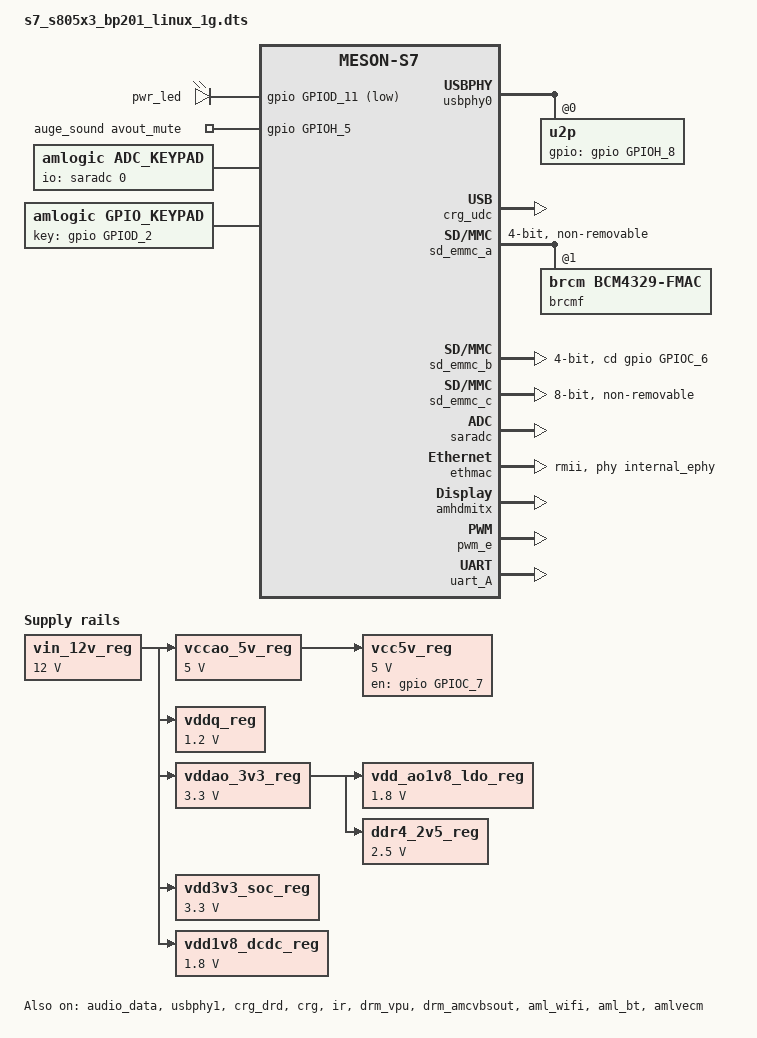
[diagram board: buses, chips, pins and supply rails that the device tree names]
// SPDX-License-Identifier: (GPL-2.0+ OR MIT)
/*
 * Copyright (c) 2019 Amlogic, Inc. All rights reserved.
 */

/dts-v1/;

#include "meson-s7.dtsi"
#include "hdr10plus.dtsi"
#include "mesons7_drm.dtsi"
#include "mesons7_audio.dtsi"
#include "partition_normal_linux.dtsi"
#include "meson-ir-map-linux.dtsi"
/ {
	amlogic-dt-id = "s7_s805x3_bp201-1g";
	compatible = "s7_s805x3_bp201-1g";
	interrupt-parent = <&gic>;
	#address-cells = <1>;
	#size-cells = <1>;

	aliases {
		serial0 = &uart_B;
		serial1 = &uart_A;
		serial2 = &uart_C;
		serial3 = &uart_D;
		serial4 = &uart_E;
		i2c0 = &i2c0;
		i2c1 = &i2c1;
		i2c2 = &i2c2;
		i2c3 = &i2c3;
		i2c4 = &i2c4;
		spi0 = &spifc;
		spi1 = &spicc0;
		tsensor0 = &p_tsensor;
	};

	memory@0 {
		device_type = "memory";
		linux,usable-memory = <0x0 0x40000000>;
	};

	reserved-memory {
		#address-cells = <1>;
		#size-cells = <1>;
		ranges;

		ramdump_bl33z {
			compatible = "shared-dma-pool";
			size = <0x01800000>;
			alignment = <0x00400000>;
			alloc-ranges = <0x05000000 0x07000000>;
			linux,contiguous-region;
			no-map;
			status = "disabled";
		};

		ramdump_data@0 {
			reg = <0x0 0x0>;
			status = "disabled"; /* disabled as default */
		};

		/* global autoconfigured region for contiguous allocations */

		ramoops@6700000 {
			compatible = "ramoops";
			reg = <0x06700000 0x00080000>;/* addr set in uboot */
			record-size = <0x30000>;
			console-size = <0x40000>;
			ftrace-size = <0x0>;
			pmsg-size = <0x10000>;
		};

		dmc_reserved:linux,dmc_monitor {
			compatible = "amlogic,dmc_monitor-reserved";
			reg = <0x0 0x10000>;
		};

		debug_reserved:linux,iotrace {
			compatible = "amlogic, iotrace";
			reg = <0x04f00000 0x00100000>;
			io-size = <0x1b000>;
			sched-size = <0x2000>;
			irq-size = <0x1000>;
			smc-size = <0x1000>;
			misc-size = <0x1000>;
		};

		secmon_reserved:linux,secmon {
			compatible = "shared-dma-pool";
			/*reusable;*/
			no-map;
			alignment = <0x100000>;
			reg = <0x05000000 0x1700000>;
		};

		logo_reserved:linux,meson-fb {
			compatible = "amlogic, meson-fb";
			alignment = <0x400000>;
			reg = <0x3f800000 0x800000>;
		};

		ion_cma_reserved:linux,ion-dev {
			compatible = "shared-dma-pool";
			reusable;
			size = <0x0>;
			alignment = <0x400000>;
		};
		ion_fb_reserved:linux,ion-fb {
			compatible = "shared-dma-pool";
			reusable;
			size = <0x0>;
			alignment = <0x400000>;
		};
		dmaheap_cma_reserved:heap-gfx {
			compatible = "shared-dma-pool";
			reusable;
			/* maximum size of fbdev and wayland-drm backend
			 * fbdev: 2 * (number of /dev/fbx device) buffers
			 * wayland-drm: 4 buffers for westeros or 2 buffers for weston,
			 *   3 buffers for direct display(enabled on weston)
			 */
			size = <0x2400000>;
			alignment = <0x400000>;
			alloc-ranges = <0x00000000 0x30000000>;
		};
		dmaheap_fb_reserved:heap-fb {
			compatible = "shared-dma-pool";
			reusable;
			/* 720p STB androidU size 24M */
			size = <0x0>;
			alignment = <0x400000>;
			alloc-ranges = <0x30000000 0x10000000>;
		};
		/*di CMA pool */
		di_cma_reserved:linux,di_cma {
			compatible = "shared-dma-pool";
			reusable;
			/* buffer_size = 3621952(yuv422 8bit)
			 *  | 4736064(yuv422 10bit)
			 *  | 4074560(yuv422 10bit full pack mode)
			 * 10x3621952=34.6M(0x23) support 8bit
			 * 10x4736064=45.2M(0x2e) support 12bit
			 * 10x4074560=40M(0x28) support 10bit
			 */
			//size = <0x0 0x0B000000>;
			//size = <0x0 0x0>;
			alignment = <0x400000>;
		};

		/*  POST PROCESS MANAGER */
		ppmgr_reserved:linux,ppmgr {
			compatible = "shared-dma-pool";
			size = <0x0>;
		};

		codec_mm_cma:linux,codec_mm_cma {
			compatible = "shared-dma-pool";
			reusable;
			/* Two-channel 1080i HEVC secure playback requires at least 168MB */
			size = <0x9C00000>;
			alignment = <0x400000>;
			linux,contiguous-region;
			alloc-ranges = <0x30000000 0x10000000>;
		};

		/* codec shared reserved */
		codec_mm_reserved:linux,codec_mm_reserved {
			compatible = "amlogic, codec-mm-reserved";
			size = <0x0>;
			alignment = <0x100000>;
			//no-map;
		};

		secure_vdec_reserved:linux,secure_vdec_reserved {
			compatible = "amlogic, secure-vdec-reserved";
			no-map;
			size = <0x400000>;
			alignment = <0x100000>;
			alloc-ranges = <0x30000000 0x10000000>;
		};
		/*  vdin0 CMA pool */
		//vdin0_cma_reserved:linux,vdin0_cma {
		//	compatible = "shared-dma-pool";
		//	reusable;
			/* up to 1920x1080 yuv422 8bit and 5 buffers
			 * 1920x1080x2x5 = 20 M
			 */
		//	size = <0x01400000>;
		//	alignment = <0x400000>;
		//};
		/*  vdin1 CMA pool */
		vdin1_cma_reserved:linux,vdin1_cma {
			compatible = "shared-dma-pool";
			reusable;
			size = <0x00c00000>;
			alignment = <0x400000>;
			alloc-ranges = <0x30000000 0x10000000>;
		};
		/* global autoconfigured region for contiguous allocations */
		linux,cma {
			compatible = "shared-dma-pool";
			reusable;
			size = <0x400000>;
			alignment = <0x400000>;
			linux,cma-default;
			alloc-ranges = <0x30000000 0x10000000>;
		};
	};

	gpio_leds {
		compatible = "gpio-leds";
		status = "okay";
		pwr_led {
			label = "pwr_led";
			gpios = <&gpio GPIOD_11 GPIO_ACTIVE_LOW>;
			default-state = "on";
		};
	};

	dvb-extern {
		compatible = "amlogic, dvb-extern";
		dev_name = "dvb-extern";
		status = "disabled";

		/* dvb hardware main power. */
		dvb_power_gpio = <&gpio GPIOZ_5 GPIO_ACTIVE_HIGH>;
		dvb_power_value = <1>;
		dvb_power_dir = <0>; /* 0: out, 1: in. */

		fe_num = <3>; /* internal 2 * dvb-c, extern 1 * dvb-s */
		fe0_demod = "internal";
		fe0_tuner0 = <0>; /* use tuner0 */

		fe1_demod = "internal";
		fe1_tuner0 = <1>; /* use tuner1 */

		fe2_demod = "cxd2856";
		fe2_i2c_adap_id = <&i2c4>;
		fe2_demod_i2c_addr = <0xD8>;
		fe2_reset_value = <0>;
		fe2_reset_gpio = <&gpio GPIOZ_4 GPIO_ACTIVE_HIGH>;
		fe2_reset_dir = <0>; /* 0: out, 1: in. */
		fe2_ant_poweron_value = <0>;
		fe2_ant_power_gpio = <&gpio GPIOH_9 GPIO_ACTIVE_HIGH>;
		fe2_ts = <0>;
		fe2_tuner1 = <3>; /* use tuner3, only S. */

		tuner_num = <4>; /* tuner number, multi tuner support */
		tuner0_name = "r836_tuner";
		tuner0_i2c_adap = <&i2c3>;
		tuner0_i2c_addr = <0x1a>; /* 7bit */
		tuner0_xtal = <0>; /* 0: 16MHz, 1: 24MHz */
		tuner0_xtal_mode = <0>;
					/* NO_SHARE_XTAL(0)
					 * SLAVE_XTAL_SHARE(3)
					 */
		tuner0_xtal_cap = <16>;
		tuner0_lt_out = <1>;

		tuner1_name = "r836_tuner";
		tuner1_i2c_adap = <&i2c3>;
		tuner1_i2c_addr = <0x3a>; /* 7bit */
		tuner1_xtal = <0>; /* 0: 16MHz, 1: 24MHz */
		tuner1_xtal_mode = <0>;
					/* NO_SHARE_XTAL(0)
					 * SLAVE_XTAL_SHARE(3)
					 */
		tuner1_xtal_cap = <16>;
		tuner1_lt_out = <1>;

		tuner2_name = "av2018_tuner";
		tuner2_i2c_adap = <&i2c3>;
		tuner2_i2c_addr = <0xC4>; /* 8bit */
		tuner2_lt_out = <1>;

		tuner3_name = "av2018_tuner";
		tuner3_lt_out = <1>;
	};

	dvb-demux {
		compatible = "amlogic sc2, dvb-demux";
		dev_name = "dvb-demux";
		status = "disabled";

		reg = <0xfe000000 0x480000>;

		dmxdev_num = <0x11>;

		tsn_from = "demod";

		/*single demod setting */
		ts0_sid = <0x10>;
		ts0 = "serial-4wire"; /* tsinA: serial-4wire, serial-3wire */
		ts0_control = <0x0>;
		ts0_invert = <0>;

		pinctrl-names = "s_ts0";
		pinctrl-0 = <&dvb_s_ts0_pins>;
	};

	/* SMC */
	smartcard {
		compatible = "amlogic,smartcard-sc2";
		dev_name = "smartcard";
		status = "disabled";

		reg = <0xfe000000 0x480000>;
		irq_trigger_type = "GPIO_IRQ_LOW";

		reset_pin-gpios = <&gpio GPIOH_10 GPIO_ACTIVE_HIGH>;
		detect_pin-gpios = <&gpio GPIOH_11 GPIO_ACTIVE_HIGH>;
		enable_5v3v_pin-gpios = <&gpio GPIOH_5 GPIO_ACTIVE_HIGH>;
		enable_pin-gpios = <&gpio GPIOH_6 GPIO_ACTIVE_HIGH>;

		interrupts = <0 174 1>;
		interrupt-names = "smc0_irq";
		/*
		 *Smc clock source, if change this,
		 *you must adjust clk and divider in smartcard.c
		 */
		smc0_clock_source = <0>;
		/*0: high voltage on detect pin indicates card in.*/
		smc0_det_invert = <0>;
		smc0_5v3v_level = <0>;
		/*Ordinarily,smartcard controller needs a enable pin.*/
		smc_need_enable_pin = "yes";
		reset_level = <0>;
		smc0_enable_level = <0>;

		pinctrl-names = "default";
		pinctrl-0 = <&sd_iso7816_pins>;

		clocks = <&clkc CLKID_SC>;
		clock-names = "smartcard";
	};

	multi-di {
		compatible = "amlogic, dim-s7d";
		status = "okay";
		/* 0:use reserved; 1:use cma; 2:use cma as reserved */
		flag_cma = <4>;	//<1>;
		//memory-region = <&di_reserved>;
		//memory-region = <&di_cma_reserved>;
		interrupts = <0 203 1
				0 202 1>;
		interrupt-names = "pre_irq", "post_irq";
		clocks = <&clkc CLKID_VPU_CLKB>,
			<&clkc CLKID_VPU>;
		clock-names = "vpu_clkb",
			"vpu_mux";
		clock-range = <334 667>;
		/* buffer-size = <3621952>;(yuv422 8bit) */
		buffer-size = <4074560>;/*yuv422 fullpack*/
		/* reserve-iomap = "true"; */
		/* if enable nr10bit, set nr10bit-support to 1 */
		post-wr-support = <1>;
		nr10bit-support = <1>;
		nrds-enable = <1>;
		post_nub = <10>;
	};

	aml_dtv_demod {
		compatible = "amlogic, ddemod-s4";
		dev_name = "aml_dtv_demod";
		status = "disabled";
		/* diseqc_name = "sgm_41286"; */
		pinctrl-names="if_agc_pins", "if_agc2_pins";
		pinctrl-0=<&dtvdemod_if_agc_pins>;
		pinctrl-1=<&dtvdemod_if_agc2_pins>;
		/* pinctrl-2=<&diseqc_out>; */
		/* lnb_en-gpios = <&gpio GPIOZ_2 GPIO_ACTIVE_HIGH>; */
		/* lnb_sel-gpios = <&gpio GPIOZ_3 GPIO_ACTIVE_HIGH>; */
		/* interrupts = <GIC_SPI 142 IRQ_TYPE_EDGE_RISING>; */
		/* interrupt-names = "demod_isr"; */

		//power-domains = <&pwrdm PDID_S4_DEMOD>;
		/* clocks = <&clkc CLKID_VDAC>; */
		/* clock-names = "vdac_clk_gate"; */

		reg = <0xfe350000 0x10000	/* dtv demod base */
			   0xfe000000 0x2000	/* div base */
			   0xff800000 0x1000	/* io_aobus_base */
			   0xffd01000 0x1000	/* reset */
			>;

		spectrum = <1>;
		cma_mem_size = <0>; //MB
	};
	/* Audio Related start */
	auge_sound {
		compatible = "amlogic, auge-sound-card";
		aml-audio-card,name = "AML-AUGESOUND";

		/*avout mute gpio*/
		avout_mute-gpios = <&gpio GPIOH_5 GPIO_ACTIVE_HIGH>;
		av_mute_sleep_time = <700>;

		aml-audio-card,dai-link@0 {
			format = "dsp_b";
			mclk-fs = <512>;
			//continuous-clock;
			//bitclock-inversion;
			//frame-inversion;
			/* master mode */
			bitclock-master = <&tdma>;
			frame-master = <&tdma>;
			/* slave mode */
			/*
			 * bitclock-master = <&tdmacodec>;
			 * frame-master = <&tdmacodec>;
			 */
			suffix-name = "alsaPORT-pcm-builtinmic";
			tdmacpu: cpu {
				sound-dai = <&tdma>;
				dai-tdm-slot-tx-mask =
							<1>;
				dai-tdm-slot-rx-mask =
							<1>;
				dai-tdm-slot-num = <2>;
				dai-tdm-slot-width = <16>;
				system-clock-frequency = <256000>;
			};
			tdmacodec: codec {
				sound-dai = <&dummy_codec>;
			};
		};

		aml-audio-card,dai-link@1 {
			format = "i2s";//"dsp_a";
			mclk-fs = <256>;
			//bitclock-inversion;
			//frame-inversion;
			/* master mode */
			bitclock-master = <&tdmb>;
			frame-master = <&tdmb>;
			/* slave mode */
			//bitclock-master = <&tdmbcodec>;
			//frame-master = <&tdmbcodec>;
			/* suffix-name, sync with android audio hal
			 * what's the dai link used for
			 */
			suffix-name = "alsaPORT-i2s2hdmi";
			cpu {
				sound-dai = <&tdmb>;
				dai-tdm-slot-tx-mask = <1 1>;
				dai-tdm-slot-rx-mask = <1 1>;
				dai-tdm-slot-num = <2>;
				/*
				 * dai-tdm-slot-tx-mask =
				 *	<1 1 1 1 1 1 1 1>;
				 * dai-tdm-slot-rx-mask =
				 *	<1 1 1 1 1 1 1 1>;
				 * dai-tdm-slot-num = <8>;
				 */
				dai-tdm-slot-width = <32>;
				system-clock-frequency = <12288000>;
			};
			tdmbcodec: codec {
				sound-dai = <&dummy_codec>;
			};
		};

		aml-audio-card,dai-link@2 {
			format = "i2s";
			mclk-fs = <256>;
			//continuous-clock;
			//bitclock-inversion;
			//frame-inversion;
			/* master mode */
			bitclock-master = <&tdmc>;
			frame-master = <&tdmc>;
			/* slave mode */
			//bitclock-master = <&tdmccodec>;
			//frame-master = <&tdmccodec>;
			/* suffix-name, sync with android audio hal used for */
			suffix-name = "alsaPORT-i2s";
			cpu {
				sound-dai = <&tdmc>;
				dai-tdm-slot-tx-mask = <1 1>;
				dai-tdm-slot-rx-mask = <1 1>;
				dai-tdm-slot-num = <2>;
				dai-tdm-slot-width = <32>;
				system-clock-frequency = <12288000>;
			};
			tdmccodec: codec {
				sound-dai = <&amlogic_codec>;
			};
		};

		aml-audio-card,dai-link@4 {
			mclk-fs = <128>;
			/* suffix-name, sync with android audio hal used for */
			suffix-name = "alsaPORT-spdif";
			cpu {
				sound-dai = <&spdifa>;
				system-clock-frequency = <6144000>;
			};
			codec {
				sound-dai = <&dummy_codec>;
			};
		};
		/* spdif_b to hdmi, only playback */
		aml-audio-card,dai-link@5 {
			mclk-fs = <128>;
			continuous-clock;
			/* suffix-name, sync with android audio hal
			 * what's the dai link used for
			 */
			suffix-name = "alsaPORT-spdifb";
			cpu {
				sound-dai = <&spdifb>;
				system-clock-frequency = <6144000>;
			};
			codec {
				sound-dai = <&dummy_codec>;
			};
		};

	};

	adc_keypad {
		compatible = "amlogic, adc_keypad";
		status = "okay";
		key_name = "vol-", "vol+", "power";
		key_num = <3>;
		io-channels = <&saradc 0>;
		io-channel-names = "key-chan-0";
		key_chan = <SARADC_CH0 SARADC_CH0 SARADC_CH0>;
		key_code = <KEY_VOLUMEDOWN KEY_VOLUMEUP KEY_POWER>;
		key_val = <1109 1601 35>; // Unit: millivolt
		key_tolerance = <70 70 70>; // Unit: millivolt
	};

	gpio_keypad {
		compatible = "amlogic, gpio_keypad";
		status = "okay";
		scan_period = <20>;
		key_num = <1>;
		key_name = "bluetooth";
		key_code = <600>;
		key_type = <EV_KEY>;
		key-gpios = <&gpio GPIOD_2 GPIO_ACTIVE_HIGH>;
		/* 0:polling mode, 1:irq mode */
		detect_mode = <0>;
	};

	vin_12v_reg: fixedregulator@12v {
		compatible = "regulator-fixed";
		regulator-name = "12V";
		regulator-min-microvolt = <12000000>;
		regulator-max-microvolt = <12000000>;
		regulator-boot-on;
		regulator-always-on;
	};

	vccao_5v_reg: fixedregulator@vccao_5v {
		vin-supply = <&vin_12v_reg>;
		compatible = "regulator-fixed";
		regulator-name = "VCCAO_5V";
		regulator-min-microvolt = <5000000>;
		regulator-max-microvolt = <5000000>;
		regulator-boot-on;
		regulator-always-on;
	};

	vcc5v_reg: fixedregulator@vcc5v {
		vin-supply = <&vccao_5v_reg>;
		compatible = "regulator-fixed";
		regulator-name = "VCC5V";
		regulator-min-microvolt = <5000000>;
		regulator-max-microvolt = <5000000>;
		pinctrl-names = "default";
		gpio = <&gpio GPIOC_7 (GPIO_ACTIVE_HIGH | GPIO_OPEN_DRAIN)>;
		startup-delay-us = <70000>;
		enable-active-high;
		regulator-boot-on;
		regulator-always-on;
	};

	vddq_reg: fixedregulator@vddq {
		compatible = "regulator-fixed";
		vin-supply = <&vin_12v_reg>;
		regulator-name = "VDDQ";
		regulator-min-microvolt = <1200000>;
		regulator-max-microvolt = <1200000>;
		regulator-boot-on;
		regulator-always-on;
	};

	vddao_3v3_reg: fixedregulator@vddao_3v3 {
		vin-supply = <&vin_12v_reg>;
		compatible = "regulator-fixed";
		regulator-name = "VDDAO_3V3";
		regulator-min-microvolt = <3300000>;
		regulator-max-microvolt = <3300000>;
		regulator-boot-on;
		regulator-always-on;
	};

	vdd3v3_soc_reg: fixedregulator@vdd3v3_soc {
		vin-supply = <&vin_12v_reg>;
		compatible = "regulator-fixed";
		regulator-name = "VDD3V3_SOC";
		regulator-min-microvolt = <3300000>;
		regulator-max-microvolt = <3300000>;
		regulator-boot-on;
		regulator-always-on;
	};

	vdd1v8_dcdc_reg: fixedregulator@vdd1v8_dcdc {
		compatible = "regulator-fixed";
		vin-supply = <&vin_12v_reg>;
		regulator-name = "VDD1V8_DCDC";
		regulator-min-microvolt = <1800000>;
		regulator-max-microvolt = <1800000>;
		regulator-boot-on;
		regulator-always-on;
	};

	vdd_ao1v8_ldo_reg: fixedregulator@vdd_ao1v8_ldo {
		compatible = "regulator-fixed";
		vin-supply = <&vddao_3v3_reg>;
		regulator-name = "VDD_AO18_LDO";
		regulator-min-microvolt = <1800000>;
		regulator-max-microvolt = <1800000>;
		regulator-boot-on;
		regulator-always-on;
	};

	ddr4_2v5_reg: fixedregulator@ddr4_2v5 {
		vin-supply = <&vddao_3v3_reg>;
		compatible = "regulator-fixed";
		regulator-name = "DDR4_2.5V";
		regulator-min-microvolt = <2500000>;
		regulator-max-microvolt = <2500000>;
		regulator-boot-on;
		regulator-always-on;
	};
};

&amlvideo2_0 {
	/*1:720P_NV21 2:1080P_NV21 3:4K_NV21*/
	codec_mm_alloc = <1>;
};

&amlvideo2_1 {
	/*1:720P_NV21 2:1080P_NV21 3:4K_NV21*/
	codec_mm_alloc = <1>;
};

&i2c3 {
	status = "disabled";
	pinctrl-names = "default","sleep";
	pinctrl-0=<&i2c3_pins2>;
	pinctrl-1 = <&i2c3_pins2_sleep>;
	clock-frequency = <300000>;
};

&i2c4 {
	status = "disabled";
	pinctrl-names = "default","sleep";
	pinctrl-0=<&i2c4_pins3>;
	pinctrl-1 = <&i2c4_pins3_sleep>;
	clock-frequency = <300000>;
};

&i2c1 {
	status = "disabled";
	pinctrl-names = "default","sleep";
	pinctrl-0=<&i2c1_pins2>;
	pinctrl-1 = <&i2c1_pins2_sleep>;
	clock-frequency = <300000>; /* default 100k */

	tlc59116: tlc59116@60 {
		compatible = "amlogic,tlc59116_led";
		reg = <0x60>;
		status = "disabled";

		led0 {
			default_colors = <0 0 0>;
			r_io_number = <0>;
			g_io_number = <10>;
			b_io_number = <5>;
		};

		led1 {
			default_colors = <0 0 0>;
			r_io_number = <1>;
			g_io_number = <11>;
			b_io_number = <6>;
		};

		led2 {
			default_colors = <0 0 0>;
			r_io_number = <2>;
			g_io_number = <12>;
			b_io_number = <7>;
		};

		led3 {
			default_colors = <0 0 0>;
			r_io_number = <3>;
			g_io_number = <13>;
			b_io_number = <8>;
		};
	};
	aw9523: aw9523_led@5b {
		compatible = "amlogic,aw9523b_led";
		reg = <0x5b>;
		status = "disabled";
		reset-gpio = <&gpio GPIOD_10 GPIO_ACTIVE_HIGH>;
		platform = <10>;

		led1 {
			default_colors = <0 0 0>;
			r_io_number = <0>;
			g_io_number = <10>;
			b_io_number = <5>;
		};

		led2 {
			default_colors = <0 0 0>;
			r_io_number = <1>;
			g_io_number = <11>;
			b_io_number = <6>;
		};

		led3 {
			default_colors = <0 0 0>;
			r_io_number = <2>;
			g_io_number = <12>;
			b_io_number = <7>;
		};

		led4 {
			default_colors = <0 0 0>;
			r_io_number = <3>;
			g_io_number = <13>;
			b_io_number = <8>;
		};
		led9 {
			default_colors = <0 0 0>;
			r_io_number = <4>;
			g_io_number = <14>;
			b_io_number = <9>;
		};
	};
};

&vddcpu0 {
	status = "okay";
};

&CPU0 {
	operating-points-v2 = <&middle_table0>,
				<&middle_table1>,
				<&middle_table2>,
				<&middle_table3>;
};

&soc_thermal {
	cooling-maps {
		cooling_map {
			cooling-device = <&CPU0 0 4>;
		};
	};
};

&pinctrl_audio {
	tdm_d0_pins: tdm_d0_pin {
		mux {
			groups = "tdm_d0";
			function = "tdmouta_lane0";
		};
	};

	tdm_d1_pins: tdm_d1_pin {
		mux {
			groups = "tdm_d1";
			function = "tdmina_lane0";
		};
	};

	tdma_clk_pins: tdm_clk_pin {
		mux {
			groups = "tdm_sclk0", "tdm_lrclk0";
			function = "tdm_clk_outa";
		};
	};
};

&periphs_pinctrl {
	dvb_s_ts0_pins: dvb_s_ts0_pins {
		tsin_a {
			groups = "tsin_a_sop",
				"tsin_a_valid",
				"tsin_a_clk",
				"tsin_a_din0";
			function = "tsin_a";
		};
	};
}; /* end of periphs_pinctrl */

&audio_data {
	status = "okay";
};

&usbphy0 {
	status = "okay";
	u2p@0 {
		controller-type = <1>; /* 0~3: normal, host, device, otg */
		gpio-vbus-power = "GPIOH_8";
		gpios = <&gpio GPIOH_8 GPIO_ACTIVE_HIGH>;
	};
};

&usbphy1 {
	status = "okay";
};

&crg_drd {
	status = "okay";
};

&crg_udc {
	status = "okay";
};

&crg {
	status = "okay";
};

/* SDIO */
&sd_emmc_a {
	status = "okay";
	pinctrl-0 = <&sdio_pins>;
	pinctrl-1 = <&sdio_clk_gate_pins>;
	pinctrl-names = "default", "clk-gate";
	#address-cells = <1>;
	#size-cells = <0>;

	bus-width = <4>;
	cap-sd-highspeed;
	sd-uhs-sdr50;
	sd-uhs-sdr104;
	max-frequency = <200000000>;

	non-removable;
	disable-wp;

	//vmmc-supply = <&vddao_3v3>;
	//vqmmc-supply = <&vddio_ao1v8>;

	brcmf: wifi@1 {
		reg = <1>;
		compatible = "brcm,bcm4329-fmac";
	};
};

/* SD card */
&sd_emmc_b {
	status = "okay";
	pinctrl-0 = <&sdcard_pins>;
	pinctrl-1 = <&sdcard_clk_gate_pins>;
	pinctrl-2 = <&sd_1bit_pins>;
	//pinctrl-3 = <&sd_to_ao_uart_clr_pins
	//	&sdcard_pins &ao_to_sd_uart_pins>;
	//pinctrl-4 = <&sd_to_ao_uart_clr_pins
	//	&sd_1bit_pins &ao_to_sd_uart_pins>;
	//pinctrl-5 = <&sdcard_pins &ao_uart_pins>;
	//pinctrl-6 = <&sd_to_ao_uart_clr_pins
	//	&ao_to_sd_uart_pins>;
	//pinctrl-7 = <&sdcard_pins &ao_uart_pins>;
	//pinctrl-8 = <&sd_to_ao_uart_clr_pins
	//	&ao_to_sd_uart_pins>;
	pinctrl-names = "sd_default",
			"clk-gate",
			"sd_1bit_pins";
	//		"sd_clk_cmd_uart_pins",
	//		"sd_1bit_uart_pins",
	//		"sd_to_ao_uart_pins",
	//		"ao_to_sd_uart_pins",
	//		"sd_to_ao_jtag_pins",
	//		"ao_to_sd_jtag_pins";
	bus-width = <4>;
	cap-sd-highspeed;
//	sd-uhs-sdr12;
//	sd-uhs-sdr25;
//	sd-uhs-sdr50;
//	sd-uhs-sdr104;
	max-frequency = <200000000>;
	disable-wp;

	cd-gpios = <&gpio GPIOC_6 GPIO_ACTIVE_HIGH>;
	//dat1-gpios = <&gpio GPIOC_1 GPIO_ACTIVE_HIGH>;
	//vmmc-supply = <&vddao_3v3>;
	//vqmmc-supply = <&emmc_1v8>;
};

&sd_emmc_c {
	status = "okay";
	pinctrl-0 = <&emmc_pins>, <&emmc_ds_pins>;
	pinctrl-1 = <&emmc_clk_gate_pins>;
	pinctrl-names = "default", "clk-gate";

	bus-width = <8>;
	cap-mmc-highspeed;
//	mmc-ddr-1_8v;
	mmc-hs200-1_8v;
	mmc-hs400-1_8v;
	max-frequency = <200000000>;
	non-removable;
	disable-wp;
	run-low-mem;

//	mmc-pwrseq = <&emmc_pwrseq>;
//	vmmc-supply = <&vddao_3v3>;
//	vqmmc-supply = <&vddao_1v8>;
};

&mtd_nand {
	status = "disabled";
	#address-cells = <1>;
	#size-cells = <0>;

	pinctrl-names = "nand_norb_mod","nand_cs_only";
	pinctrl-0 = <&all_nand_pins>;
	pinctrl-1 = <&nand_cs_pins>;
	bl_mode = <2>;
	fip_copies = <4>;
	fip_size = <0x200000>;
	ship_bad_block = <1>;
	disa_irq_flag = <1>;
	nand@0 {
		reg = <0>;
		#address-cells = <1>;
		#size-cells = <1>;
		nand-ecc-maximize;
	};
};

&saradc {
	status = "okay";
};

&ethmac {
	pinctrl-0 = <&eth_led_pins>;
	pinctrl-names = "default";
	status = "okay";
	phy-handle = <&internal_ephy>;
	phy-mode = "rmii";
	amlogic,wol-enable;
};

&ir {
	status = "okay";
	pinctrl-0 = <&remote_pins>;
	pinctrl-1 = <&remote_pins_sleep>;
	pinctrl-names = "default", "sleep";
	map = <&custom_maps_linux>;
};

&spicc0 {
	status = "disabled";
	pinctrl-names = "default", "sleep";
	pinctrl-0 = <&spicc0_pins_z>;
	pinctrl-1 = <&spicc0_pins_z_sleep>;
};

&spifc {
	status = "disabled";
	spi-nor@0 {
		status = "disabled";
	};
};

&fb {
	status = "disabled";
	display_size_default = <1920 1080 1920 2160 32>;
	mem_size = <0x00800000 0x1980000 0x100000>;
	logo_addr = "0x3f800000";
	mem_alloc = <0>;
	pxp_mode = <0>; /** 0:normal mode 1:pxp mode */
};

&drm_vpu {
	status = "okay";
	logo_addr = "0x3f800000";

};

&amhdmitx {
	status = "okay";
	res_1080p = <1>;
	vrr_type = <2>; /* 1: GAME-VRR, 2: QMS-VRR */
	/* hdcp ctrl 0:sysctrl, 1: drv, 2: linux app */
	hdcp_ctl_lvl = <1>;
};

&drm_amcvbsout {
	status = "okay";
};

/*if you want to use vdin just modify status to "ok"*/
&vdin0 {
	/*compatible = "amlogic, vdin-s7";*/
	/*memory-region = <&vdin0_cma_reserved>;*/
	/*status = "disabled";*/
	/* up to 1920x1080 yuv422 8bit and 5 buffers
	 * 1920x1080x2x5 = 20 M
	 */
	cma_size = <20>;
	/*vdin write mem color depth support:
	 *bit0:support 8bit
	 *bit1:support 9bit
	 *bit2:support 10bit
	 *bit3:support 12bit
	 *bit4:support yuv422 10bit full pack mode (from txl new add)
	 */
	tv_bit_mode = <0x1>;
};

&vdin1 {
	/*compatible = "amlogic, vdin-s7";*/
	memory-region = <&vdin1_cma_reserved>;
	frame_buff_num = <4>;
	/*status = "disabled";*/
	/*vdin write mem color depth support:
	 *bit0:support 8bit
	 *bit1:support 9bit
	 *bit2:support 10bit
	 *bit3:support 12bit
	 */
	tv_bit_mode = <1>;
};

&aml_wifi{
	status = "okay";
	interrupt-gpios = <&gpio  GPIOX_7  GPIO_ACTIVE_HIGH>;
	power_on-gpios = <&gpio   GPIOX_6  GPIO_ACTIVE_HIGH>;
};

&aml_bt {
	status = "okay";
	reset-gpios = <&gpio    GPIOX_17 GPIO_ACTIVE_HIGH>;
	btwakeup-gpios = <&gpio    GPIOX_18 GPIO_ACTIVE_HIGH>;
	hostwake-gpios = <&gpio GPIOX_19 GPIO_ACTIVE_HIGH>;
};

&pwm_e {
	pinctrl-0 = <&pwm_e_pins1>;
	pinctrl-1 = <&pwm_e_pins1_sleep>;
	pinctrl-names = "default","sleep";
	status = "okay";
};

&uart_A {
	status = "okay";
	uart-has-rtscts;
};

&vcodec_dos_dev {
	compatible = "amlogic, cpu-major-id-s7-805x3";
};

&drm_subsystem {
	fbdev_sizes = <1280 720 1280 1440 32>;
};

&amlvecm {
	compatible = "amlogic, vecm-s7";
	dev_name = "aml_vecm";
	status = "okay";
	gamma_en = <0>;/*1:enable ;0:disable*/
	wb_en = <0>;/*1:enable ;0:disable*/
	/*0: 709/601  1: bt2020*/
	tx_op_color_primary = <0>;
};

&chosen {
	bootargs = "usbcore.autosuspend=-1 swiotlb=noforce \
	dm_mod.reserved_bio_based_ios=8 rodata=off";
};
